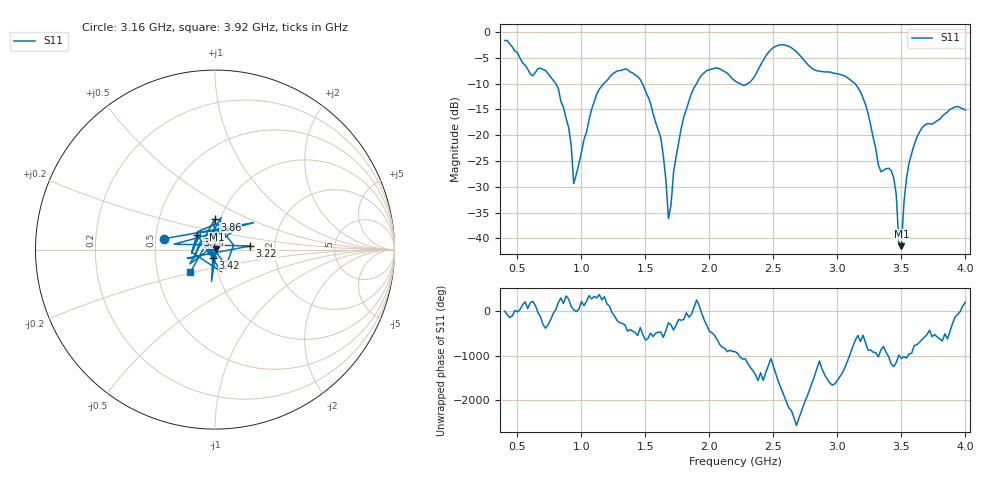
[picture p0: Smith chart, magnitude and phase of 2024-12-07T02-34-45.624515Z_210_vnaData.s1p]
!Created with skrf (http://scikit-rf.org).
# Hz S RI R 50.0
!freq ReS11 ImS11
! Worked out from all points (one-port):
!   181 points, 400 MHz to 4 GHz, reference 50 ohm
!   lowest |S11| = -41.5 dB at 3.5 GHz (marker M1), VSWR 1.02, Z = 50.8 + j0.218 ohm
!   |S11| at or under -10 dB: 799.6 MHz to 1.175 GHz (375.6 MHz wide, 38 % of centre); 1.476 GHz to 1.9 GHz (423.8 MHz wide, 25.1 % of centre); 3.137 GHz to end of sweep (the widest 3 of 4)
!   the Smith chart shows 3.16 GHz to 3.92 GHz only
!   S11 on the Smith chart (normalised r, x): 3.16 GHz: 0.55, +0.07; 3.22 GHz: 1.49, +0.06; 3.42 GHz: 0.97, -0.09; 3.74 GHz: 0.81, +0.13; 3.86 GHz: 0.94, +0.33; 3.92 GHz: 0.74, -0.19
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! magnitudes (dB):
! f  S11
! 400 MHz  -1.6
! 720 MHz  -7.5
! 860 MHz  -14.6
! 920 MHz  -22.0
! 940 MHz  -29.4
! 1.12 GHz  -12.0
! 1.3 GHz  -7.5
! 1.54 GHz  -13.8
! 1.62 GHz  -20.5
! 1.68 GHz  -36.2
! 1.76 GHz  -21.4
! 1.94 GHz  -8.4
! 2.2 GHz  -9.5
! 2.66 GHz  -3.4
! 3.1 GHz  -9.3
! 3.16 GHz  -10.8
! 3.22 GHz  -14.1
! 3.34 GHz  -27.1
! 3.42 GHz  -26.8
! 3.46 GHz  -31.6
! 3.48 GHz  -40.8
! 3.5 GHz  -41.5
! 3.52 GHz  -33.1
! 3.56 GHz  -25.4
! 3.74 GHz  -17.9
! 3.86 GHz  -15.5
! 3.92 GHz  -14.5
! 4 GHz  -15.2
